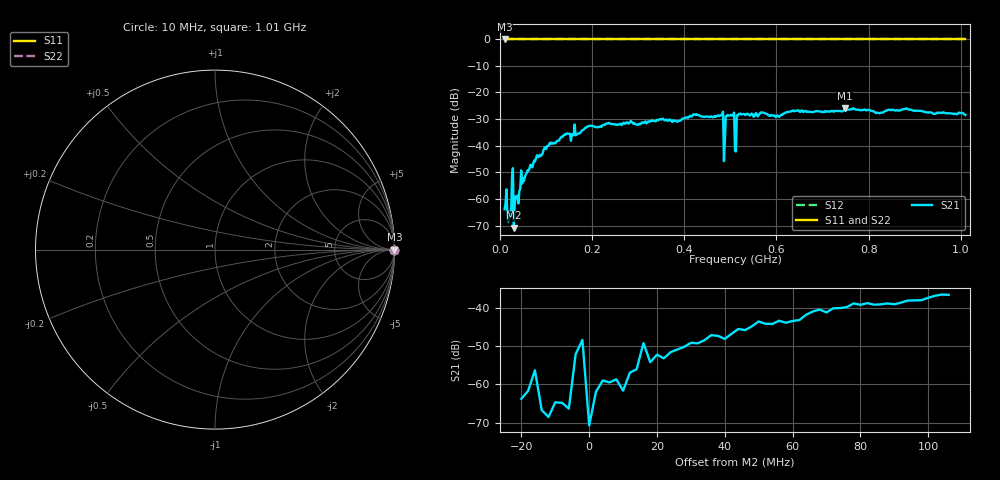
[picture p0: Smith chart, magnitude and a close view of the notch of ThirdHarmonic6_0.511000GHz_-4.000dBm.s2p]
! 8/15/2025 3:33:29 PM
! C:\ANRITSUVNA\TEMP\TEMP.S2P
! CHANNEL.1
! TR.MEASUREMENT
! RAW.DATA
! RF.CORRECTION.OFF
! AVERAGING.OFF
! IF.BANDWIDTH: 5KHZ
! SWEEPTYPE:  FREQ.SWEEP(Linear)
! Reference Plane Port Info
! PORT:  PORT1  PORT2
! DISTANCE:  0  m  0  m
! TIME:  0  s  0  s
! PHASE.OFFSET:  0  deg.  0  deg.
! LOSS:  0  dB  0  dB
! REF.LOSS:  0  dB  0  dB
! REF.FREQ:  0  Hz  0  Hz
! Power Info
! POWER:  -20  dBm  -20  dBm
! EFF.POWER:  -20  dBm  -20  dBm
! SOURCE.ATTEN:  0  dB  0  dB
! TEST.ATTEN:  0  dB  0  dB
# GHZ S RI R 50.0
! FREQ.GHZ  S11RE  S11IM  S21RE  S21IM  S12RE  S12IM  S22RE  S22IM
!; PortSelection: Port_12
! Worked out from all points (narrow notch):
!   501 points, 10 MHz to 1.01 GHz, reference 50 ohm
!   highest |S21| = -25.86 dB at 748 MHz (marker M1); lowest = -70.8 dB at 30 MHz (marker M2)
!   notch at M2: 42.1 dB deep, 17.7 MHz wide at half that depth
!   lowest |S11| = 0.0 dB at 10 MHz (marker M3)
!   |S11| at or under -10 dB: nowhere
!   |S22| runs from 0.0 to 0.0 dB; largest |S21 - S12| = 1
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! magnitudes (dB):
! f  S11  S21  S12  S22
! 10 MHz  0.0  -63.8  0.0  0.0
! 20 MHz  0.0  -64.7  0.0  0.0
! 24 MHz  0.0  -66.4  0.0  0.0
! 30 MHz  0.0  -70.8  0.0  0.0
! 34 MHz  0.0  -59.0  0.0  0.0
! 50 MHz  0.0  -52.3  0.0  0.0
! 100 MHz  0.0  -41.3  0.0  0.0
! 178 MHz  0.0  -34.3  0.0  0.0
! 344 MHz  0.0  -30.4  0.0  0.0
! 480 MHz  0.0  -28.5  0.0  0.0
! 484 MHz  0.0  -27.3  0.0  0.0
! 490 MHz  0.0  -29.0  0.0  0.0
! 494 MHz  0.0  -28.5  0.0  0.0
! 504 MHz  0.0  -28.7  0.0  0.0
! 510 MHz  0.0  -41.9  0.0  0.0
! 514 MHz  0.0  -28.6  0.0  0.0
! 518 MHz  0.0  -28.2  0.0  0.0
! 522 MHz  0.0  -28.0  0.0  0.0
! 678 MHz  0.0  -27.4  0.0  0.0
! 748 MHz  0.0  -25.9  0.0  0.0
! 844 MHz  0.0  -26.5  0.0  0.0
! 1.01 GHz  0.0  -28.5  0.0  0.0
